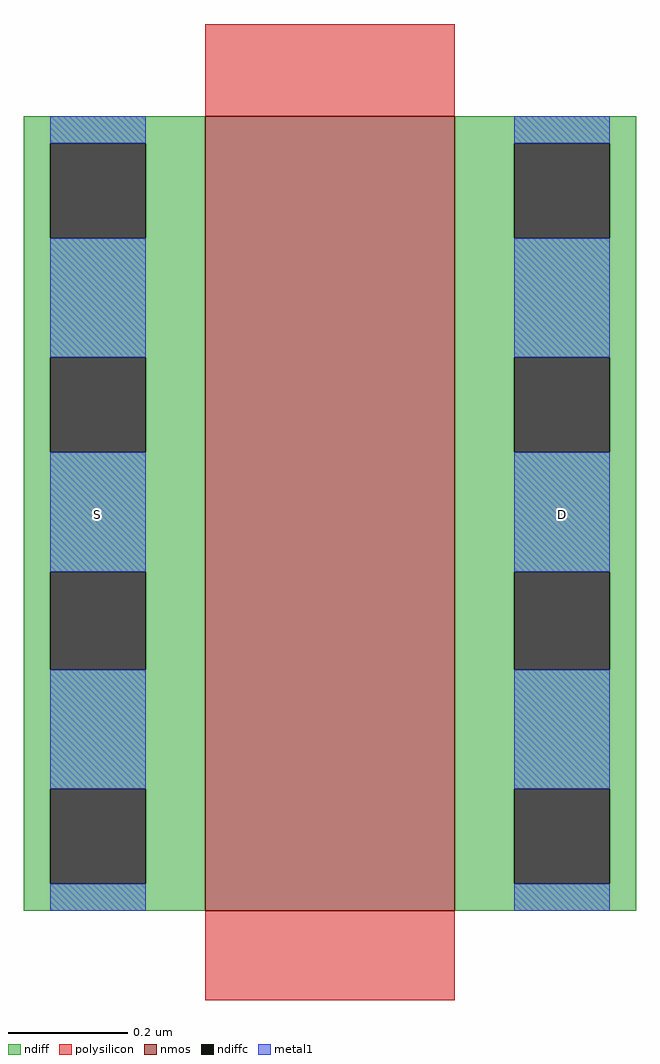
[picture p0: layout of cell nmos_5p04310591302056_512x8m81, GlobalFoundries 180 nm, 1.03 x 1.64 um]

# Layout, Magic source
magic
tech gf180mcuD
magscale 1 10
<< nmos >>
rect 0 0 84 267
<< ndiff >>
rect -61 258 0 267
rect -61 226 -52 258
rect -20 226 0 258
rect -61 186 0 226
rect -61 154 -52 186
rect -20 154 0 186
rect -61 114 0 154
rect -61 81 -52 114
rect -20 81 0 114
rect -61 41 0 81
rect -61 9 -52 41
rect -20 9 0 41
rect -61 0 0 9
rect 84 258 145 267
rect 84 226 104 258
rect 136 226 145 258
rect 84 186 145 226
rect 84 154 104 186
rect 136 154 145 186
rect 84 114 145 154
rect 84 81 104 114
rect 136 81 145 114
rect 84 41 145 81
rect 84 9 104 41
rect 136 9 145 41
rect 84 0 145 9
<< ndiffc >>
rect -52 226 -20 258
rect -52 154 -20 186
rect -52 81 -20 114
rect -52 9 -20 41
rect 104 226 136 258
rect 104 154 136 186
rect 104 81 136 114
rect 104 9 136 41
<< polysilicon >>
rect 0 267 84 298
rect 0 -30 84 0
<< metal1 >>
rect -52 258 -20 267
rect -52 186 -20 226
rect -52 114 -20 154
rect -52 41 -20 81
rect -52 0 -20 9
rect 104 258 136 267
rect 104 186 136 226
rect 104 114 136 154
rect 104 41 136 81
rect 104 0 136 9
<< labels >>
flabel metal1 -36 133 -36 133 0 FreeSans 140 0 0 0 S
flabel metal1 120 133 120 133 0 FreeSans 140 0 0 0 D
<< end >>
